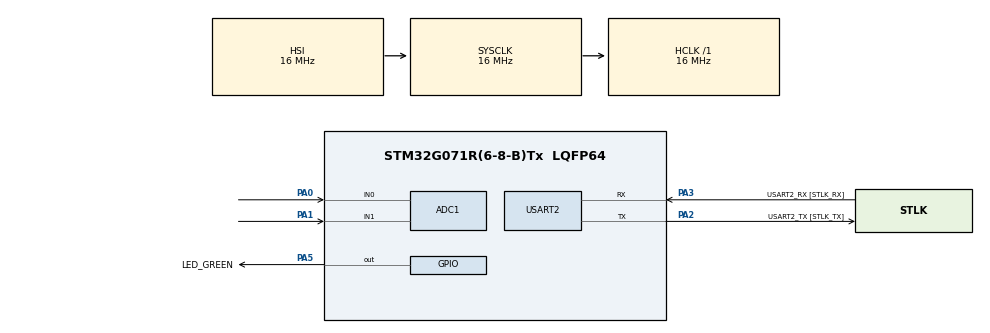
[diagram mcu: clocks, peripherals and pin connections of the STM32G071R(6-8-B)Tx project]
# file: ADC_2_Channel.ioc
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ADC1.Channel-0\#ChannelRegularConversion=ADC_CHANNEL_0
ADC1.Channel-1\#ChannelRegularConversion=ADC_CHANNEL_1
ADC1.NbrOfConversion=2
ADC1.NbrOfConversionFlag=1
ADC1.Rank-0\#ChannelRegularConversion=1
ADC1.Rank-1\#ChannelRegularConversion=2
ADC1.SamplingTime-0\#ChannelRegularConversion=ADC_SAMPLINGTIME_COMMON_1
ADC1.SamplingTime-1\#ChannelRegularConversion=ADC_SAMPLINGTIME_COMMON_1
ADC1.SelectedChannel=ADC_CHANNEL_0|ADC_CHANNEL_1
ADC1.master=1
Mcu.Family=STM32G0
Mcu.Name=STM32G071R(6-8-B)Tx
Mcu.Package=LQFP64
PA0.Mode=IN0
PA0.Signal=ADC1_IN0
PA1.Mode=IN1
PA1.Signal=ADC1_IN1
PA13.GPIO_Label=TMS
PA13.Signal=SYS_SWDIO
PA14-BOOT0.GPIO_Label=TCK
PA14-BOOT0.Signal=SYS_SWCLK
PA2.GPIO_Label=USART2_TX [STLK_TX]
PA2.Mode=Asynchronous
PA2.Signal=USART2_TX
PA3.GPIO_Label=USART2_RX [STLK_RX]
PA3.Mode=Asynchronous
PA3.Signal=USART2_RX
PA5.GPIO_Label=LED_GREEN
PA5.GPIO_Speed=GPIO_SPEED_FREQ_HIGH
PA5.Signal=GPIO_Output
PC13.Signal=SYS_WKUP2
PC14-OSC32_IN\ (PC14).Signal=RCC_OSC32_IN
PC15-OSC32_OUT\ (PC15).Signal=RCC_OSC32_OUT
PF0-OSC_IN\ (PF0).GPIO_Label=MCO
PF0-OSC_IN\ (PF0).Signal=RCC_OSC_IN
ProjectManager.HeapSize=0x200
ProjectManager.StackSize=0x400
ProjectManager.TargetToolchain=STM32CubeIDE
RCC.AHBFreq_Value=16000000
RCC.CortexFreq_Value=16000000
RCC.EXTERNAL_CLOCK_VALUE=12288000
RCC.HCLKFreq_Value=16000000
RCC.HSE_VALUE=8000000
RCC.HSI_VALUE=16000000
RCC.LSE_VALUE=32768
RCC.SYSCLKFreq_VALUE=16000000
RCC.VCOOutputFreq_Value=128000000
USART2.VirtualMode-Asynchronous=VM_ASYNC
VP_SYS_VS_DBSignals.Mode=DisableDeadBatterySignals
board=NUCLEO-G071RB

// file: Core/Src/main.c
/* USER CODE BEGIN Header */
/**
  ******************************************************************************
  * @file           : main.c
  * @brief          : Main program body
  ******************************************************************************
  * @attention
  *
  * <h2><center>&copy; Copyright (c) 2023 STMicroelectronics.
  * All rights reserved.</center></h2>
  *
  * This software component is licensed by ST under BSD 3-Clause license,
  * the "License"; You may not use this file except in compliance with the
  * License. You may obtain a copy of the License at:
  *                        opensource.org/licenses/BSD-3-Clause
  *
  ******************************************************************************
  */
/* USER CODE END Header */
#include "main.h"

/* USER CODE BEGIN Includes */
#include <stdio.h>
#include <string.h>
/* USER CODE END Includes */

ADC_HandleTypeDef hadc1;

UART_HandleTypeDef huart2;

/* USER CODE BEGIN PV */
ADC_ChannelConfTypeDef sConfig = {0};
/* USER CODE END PV */

void SystemClock_Config(void);
static void MX_GPIO_Init(void);
static void MX_ADC1_Init(void);
static void MX_USART2_UART_Init(void);

int main(void)
{
  /* USER CODE BEGIN 1 */
	uint16_t channel_0_raw, channel_1_raw;
	char msg[10];
	//int timer=0 , timer2=0;
  /* USER CODE END 1 */

  /* MCU Configuration--------------------------------------------------------*/

  /* Reset of all peripherals, Initializes the Flash interface and the Systick. */
  HAL_Init();

  /* Configure the system clock */
  SystemClock_Config();

  /* Initialize all configured peripherals */
  MX_GPIO_Init();
  MX_ADC1_Init();
  MX_USART2_UART_Init();

  /* Infinite loop */
  /* USER CODE BEGIN WHILE */
  while (1)
  {

	  //Get the ADC value from channel_0
	  sConfig.Channel = ADC_CHANNEL_0;
	  sConfig.Rank = ADC_REGULAR_RANK_1;
	  sConfig.SamplingTime = ADC_SAMPLINGTIME_COMMON_1;
	  if (HAL_ADC_ConfigChannel(&hadc1, &sConfig) != HAL_OK)
	  {
		  Error_Handler();
	  }

	  HAL_ADC_Start(&hadc1);
	  HAL_ADC_PollForConversion(&hadc1, HAL_MAX_DELAY);
	  channel_0_raw = HAL_ADC_GetValue(&hadc1);
	  HAL_ADC_Stop(&hadc1);

	  //Get the ADC value from channel_0
	  sConfig.Channel = ADC_CHANNEL_1;
	  sConfig.Rank = ADC_REGULAR_RANK_1;
	  sConfig.SamplingTime = ADC_SAMPLINGTIME_COMMON_1;
	  if (HAL_ADC_ConfigChannel(&hadc1, &sConfig) != HAL_OK)
	  {
		  Error_Handler();
	  }

	  HAL_ADC_Start(&hadc1);
	  HAL_ADC_PollForConversion(&hadc1, HAL_MAX_DELAY);
	  channel_1_raw = HAL_ADC_GetValue(&hadc1);

	  //Convert to string and print
	  sprintf(msg,"ch_0 = %hu ",channel_0_raw);
	  HAL_UART_Transmit(&huart2,(uint8_t*)msg,strlen(msg), HAL_MAX_DELAY);
	  sprintf(msg,"ch_1 = %hu\r\n",channel_1_raw);
	  HAL_UART_Transmit(&huart2,(uint8_t*)msg,strlen(msg), HAL_MAX_DELAY);

    /* USER CODE END WHILE */

  }
}

void SystemClock_Config(void)
{
  RCC_OscInitTypeDef RCC_OscInitStruct = {0};
  RCC_ClkInitTypeDef RCC_ClkInitStruct = {0};
  RCC_PeriphCLKInitTypeDef PeriphClkInit = {0};

  /** Configure the main internal regulator output voltage
  */
  HAL_PWREx_ControlVoltageScaling(PWR_REGULATOR_VOLTAGE_SCALE1);
  /** Initializes the RCC Oscillators according to the specified parameters
  * in the RCC_OscInitTypeDef structure.
  */
  RCC_OscInitStruct.OscillatorType = RCC_OSCILLATORTYPE_HSI;
  RCC_OscInitStruct.HSIState = RCC_HSI_ON;
  RCC_OscInitStruct.HSIDiv = RCC_HSI_DIV1;
  RCC_OscInitStruct.HSICalibrationValue = RCC_HSICALIBRATION_DEFAULT;
  RCC_OscInitStruct.PLL.PLLState = RCC_PLL_NONE;
  if (HAL_RCC_OscConfig(&RCC_OscInitStruct) != HAL_OK)
  {
    Error_Handler();
  }
  /** Initializes the CPU, AHB and APB buses clocks
  */
  RCC_ClkInitStruct.ClockType = RCC_CLOCKTYPE_HCLK|RCC_CLOCKTYPE_SYSCLK
                              |RCC_CLOCKTYPE_PCLK1;
  RCC_ClkInitStruct.SYSCLKSource = RCC_SYSCLKSOURCE_HSI;
  RCC_ClkInitStruct.AHBCLKDivider = RCC_SYSCLK_DIV1;
  RCC_ClkInitStruct.APB1CLKDivider = RCC_HCLK_DIV1;

  if (HAL_RCC_ClockConfig(&RCC_ClkInitStruct, FLASH_LATENCY_0) != HAL_OK)
  {
    Error_Handler();
  }
  /** Initializes the peripherals clocks
  */
  PeriphClkInit.PeriphClockSelection = RCC_PERIPHCLK_USART2|RCC_PERIPHCLK_ADC;
  PeriphClkInit.Usart2ClockSelection = RCC_USART2CLKSOURCE_PCLK1;
  PeriphClkInit.AdcClockSelection = RCC_ADCCLKSOURCE_SYSCLK;
  if (HAL_RCCEx_PeriphCLKConfig(&PeriphClkInit) != HAL_OK)
  {
    Error_Handler();
  }
}

static void MX_ADC1_Init(void)
{

  ADC_ChannelConfTypeDef sConfig = {0};

  /** Configure the global features of the ADC (Clock, Resolution, Data Alignment and number of conversion)
  */
  hadc1.Instance = ADC1;
  hadc1.Init.ClockPrescaler = ADC_CLOCK_SYNC_PCLK_DIV2;
  hadc1.Init.Resolution = ADC_RESOLUTION_12B;
  hadc1.Init.DataAlign = ADC_DATAALIGN_RIGHT;
  hadc1.Init.ScanConvMode = ADC_SCAN_ENABLE;
  hadc1.Init.EOCSelection = ADC_EOC_SINGLE_CONV;
  hadc1.Init.LowPowerAutoWait = DISABLE;
  hadc1.Init.LowPowerAutoPowerOff = DISABLE;
  hadc1.Init.ContinuousConvMode = DISABLE;
  hadc1.Init.NbrOfConversion = 2;
  hadc1.Init.DiscontinuousConvMode = DISABLE;
  hadc1.Init.ExternalTrigConv = ADC_SOFTWARE_START;
  hadc1.Init.ExternalTrigConvEdge = ADC_EXTERNALTRIGCONVEDGE_NONE;
  hadc1.Init.DMAContinuousRequests = DISABLE;
  hadc1.Init.Overrun = ADC_OVR_DATA_PRESERVED;
  hadc1.Init.SamplingTimeCommon1 = ADC_SAMPLETIME_1CYCLE_5;
  hadc1.Init.SamplingTimeCommon2 = ADC_SAMPLETIME_1CYCLE_5;
  hadc1.Init.OversamplingMode = DISABLE;
  hadc1.Init.TriggerFrequencyMode = ADC_TRIGGER_FREQ_HIGH;
  if (HAL_ADC_Init(&hadc1) != HAL_OK)
  {
    Error_Handler();
  }
  /** Configure Regular Channel
  */
  sConfig.Channel = ADC_CHANNEL_0;
  sConfig.Rank = ADC_REGULAR_RANK_1;
  sConfig.SamplingTime = ADC_SAMPLINGTIME_COMMON_1;
  if (HAL_ADC_ConfigChannel(&hadc1, &sConfig) != HAL_OK)
  {
    Error_Handler();
  }
  /** Configure Regular Channel
  */
  sConfig.Channel = ADC_CHANNEL_1;
  sConfig.Rank = ADC_REGULAR_RANK_2;
  if (HAL_ADC_ConfigChannel(&hadc1, &sConfig) != HAL_OK)
  {
    Error_Handler();
  }

}

static void MX_USART2_UART_Init(void)
{

  huart2.Instance = USART2;
  huart2.Init.BaudRate = 115200;
  huart2.Init.WordLength = UART_WORDLENGTH_8B;
  huart2.Init.StopBits = UART_STOPBITS_1;
  huart2.Init.Parity = UART_PARITY_NONE;
  huart2.Init.Mode = UART_MODE_TX_RX;
  huart2.Init.HwFlowCtl = UART_HWCONTROL_NONE;
  huart2.Init.OverSampling = UART_OVERSAMPLING_16;
  huart2.Init.OneBitSampling = UART_ONE_BIT_SAMPLE_DISABLE;
  huart2.Init.ClockPrescaler = UART_PRESCALER_DIV1;
  huart2.AdvancedInit.AdvFeatureInit = UART_ADVFEATURE_NO_INIT;
  if (HAL_UART_Init(&huart2) != HAL_OK)
  {
    Error_Handler();
  }
  if (HAL_UARTEx_SetTxFifoThreshold(&huart2, UART_TXFIFO_THRESHOLD_1_8) != HAL_OK)
  {
    Error_Handler();
  }
  if (HAL_UARTEx_SetRxFifoThreshold(&huart2, UART_RXFIFO_THRESHOLD_1_8) != HAL_OK)
  {
    Error_Handler();
  }
  if (HAL_UARTEx_DisableFifoMode(&huart2) != HAL_OK)
  {
    Error_Handler();
  }

}

static void MX_GPIO_Init(void)
{
  GPIO_InitTypeDef GPIO_InitStruct = {0};

  /* GPIO Ports Clock Enable */
  __HAL_RCC_GPIOC_CLK_ENABLE();
  __HAL_RCC_GPIOF_CLK_ENABLE();
  __HAL_RCC_GPIOA_CLK_ENABLE();

  /*Configure GPIO pin Output Level */
  HAL_GPIO_WritePin(LED_GREEN_GPIO_Port, LED_GREEN_Pin, GPIO_PIN_RESET);

  /*Configure GPIO pin : LED_GREEN_Pin */
  GPIO_InitStruct.Pin = LED_GREEN_Pin;
  GPIO_InitStruct.Mode = GPIO_MODE_OUTPUT_PP;
  GPIO_InitStruct.Pull = GPIO_NOPULL;
  GPIO_InitStruct.Speed = GPIO_SPEED_FREQ_HIGH;
  HAL_GPIO_Init(LED_GREEN_GPIO_Port, &GPIO_InitStruct);

}

void Error_Handler(void)
{
  __disable_irq();
  while (1)
  {
  }
}

/************************ (C) COPYRIGHT STMicroelectronics *****END OF FILE****/
